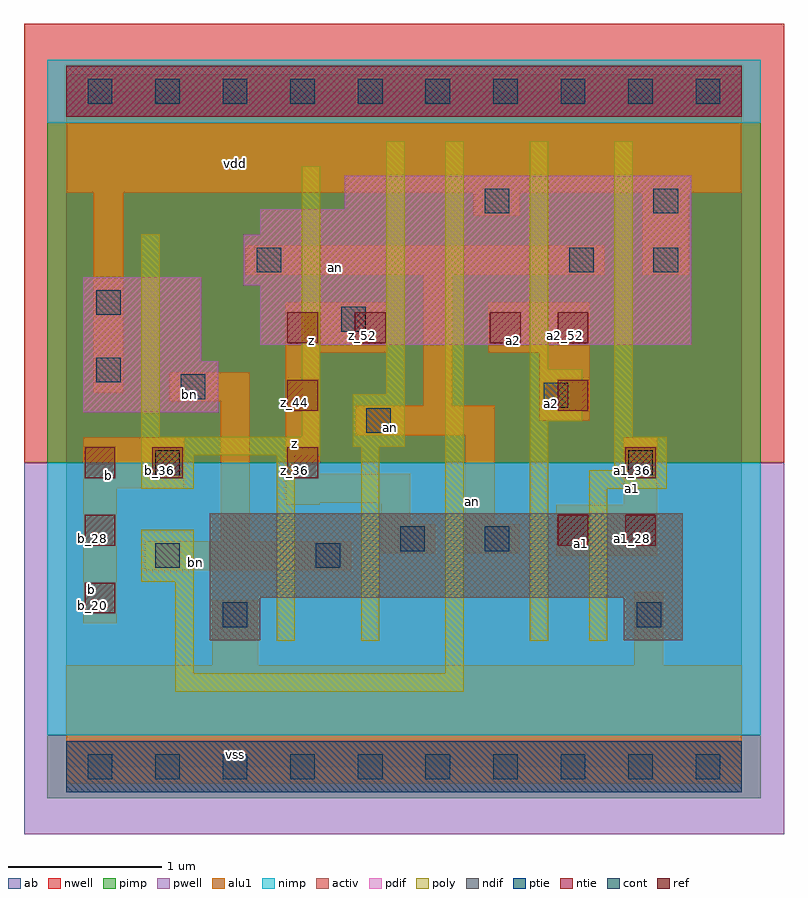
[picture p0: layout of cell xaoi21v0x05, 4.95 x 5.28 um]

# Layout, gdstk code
import gdstk
lib = gdstk.Library(unit=1e-6, precision=2.5e-09)
def R(c, l, rs):  # rectangles x0, y0, x1, y1
    for r in rs: c.add(gdstk.rectangle(r[:2], r[2:], *l))
def A(c, l, x, y, w, h, nx, ny, dx, dy):  # array of equal rectangles
    R(c, l, [(x+i*dx, y+j*dy, x+i*dx+w, y+j*dy+h) for i in range(nx) for j in range(ny)])
ndif = (3, 0)
pdif = (4, 0)
ntie = (5, 0)
ptie = (6, 0)
ref = (24, 0)
cont = (25, 0)
pwell = (41, 0)
nwell = (42, 0)
activ = (43, 0)
pimp = (44, 0)
nimp = (45, 0)
poly = (46, 0)
alu1 = (49, 0)
ab = (63, 0)

xaoi21v0x05 = lib.new_cell('xaoi21v0x05')
R(xaoi21v0x05, ndif, [(0.935,0.825,1.265,1.1), (3.63,0.825,4.015,1.1), (0.935,1.1,4.015,1.65)])
R(xaoi21v0x05, pdif, [(0.11,2.31,0.99,2.64), (0.11,2.64,0.88,3.19), (1.265,2.75,4.07,3.135), (1.155,3.135,4.07,3.465), (1.265,3.465,4.07,3.63), (1.815,3.63,4.07,3.85)])
R(xaoi21v0x05, ntie, [(0,4.235,4.4,4.565)])
R(xaoi21v0x05, ptie, [(0,-0.165,4.4,0.165)])
A(xaoi21v0x05, ref, 0.12, 1, 0.2, 0.2, 1, 3, 0, 0.44)
A(xaoi21v0x05, ref, 1.44, 1.88, 0.2, 0.2, 1, 3, 0, 0.44)
R(xaoi21v0x05, ref, [(3.2,1.44,3.4,1.64), (3.64,1.44,3.84,1.64), (0.56,1.88,0.76,2.08), (3.64,1.88,3.84,2.08), (3.2,2.32,3.4,2.52), (1.88,2.76,2.08,2.96), (2.76,2.76,2.96,2.96), (3.2,2.76,3.4,2.96)])
A(xaoi21v0x05, cont, 0.14, -0.08, 0.16, 0.16, 10, 2, 0.44, 4.4)
R(xaoi21v0x05, cont, [(1.02,0.91,1.18,1.07), (3.715,0.91,3.875,1.07), (0.58,1.295,0.74,1.455), (1.625,1.295,1.785,1.455), (2.175,1.405,2.335,1.565), (2.725,1.405,2.885,1.565), (0.58,1.9,0.74,2.06), (3.66,1.9,3.82,2.06), (1.955,2.175,2.115,2.335), (3.11,2.34,3.27,2.5), (0.745,2.395,0.905,2.555), (0.195,2.505,0.355,2.665), (1.79,2.835,1.95,2.995), (0.195,2.945,0.355,3.105), (1.24,3.22,1.4,3.38), (3.275,3.22,3.435,3.38), (3.825,3.22,3.985,3.38), (2.725,3.605,2.885,3.765), (3.825,3.605,3.985,3.765)])
R(xaoi21v0x05, pwell, [(-0.275,-0.44,4.675,1.98)])
R(xaoi21v0x05, nwell, [(-0.275,1.98,4.675,4.84)])
R(xaoi21v0x05, activ, [(0,-0.165,4.4,0.165), (0.935,0.825,1.265,1.1), (3.63,0.825,4.015,1.1), (0.935,1.1,4.015,1.65), (0.11,2.31,0.99,2.64), (0.11,2.64,0.88,3.19), (1.265,2.75,4.07,3.135), (1.155,3.135,4.07,3.465), (1.265,3.465,4.07,3.63), (1.815,3.63,4.07,3.85), (0,4.235,4.4,4.565)])
R(xaoi21v0x05, pimp, [(-0.125,-0.205,4.525,0.205), (-0.125,1.98,4.525,4.195)])
R(xaoi21v0x05, nimp, [(-0.125,0.205,4.525,1.98), (-0.125,4.195,4.525,4.605)])
R(xaoi21v0x05, poly, [(0.71,0.49,2.59,0.61), (0.71,0.61,0.83,1.205), (2.47,0.61,2.59,4.075), (1.37,0.82,1.49,2.03), (1.92,0.82,2.04,2.085), (3.02,0.82,3.14,2.25), (3.405,0.82,3.525,1.81), (0.49,1.205,0.83,1.545), (0.49,1.81,0.83,2.03), (3.405,1.81,3.91,1.93), (3.57,1.93,3.91,2.15), (0.49,2.03,1.655,2.15), (1.865,2.085,2.205,2.425), (0.49,2.15,0.61,3.47), (1.535,2.15,1.655,3.91), (3.57,2.15,3.69,4.075), (3.02,2.25,3.36,2.59), (2.085,2.425,2.205,4.075), (3.02,2.59,3.14,4.075)])
R(xaoi21v0x05, alu1, [(0,-0.11,4.4,0.66), (0.95,0.66,1.25,1.085), (3.7,0.66,3.89,1.14), (0.11,0.935,0.33,1.815), (0.51,1.28,1.855,1.47), (3.19,1.375,3.85,1.705), (2.05,1.39,2.405,1.58), (2.6,1.39,2.955,1.58), (1.005,1.47,1.195,2.38), (2.05,1.58,2.24,1.72), (2.6,1.58,2.79,2.16), (1.43,1.705,1.65,1.72), (3.63,1.705,3.85,2.145), (1.43,1.72,2.24,1.91), (0.11,1.815,0.77,2.145), (1.43,1.91,1.65,2.695), (1.885,2.16,2.79,2.35), (3.08,2.255,3.41,2.695), (2.325,2.35,2.515,3.205), (0.675,2.38,1.195,2.57), (0.18,2.435,0.37,3.74), (1.43,2.695,2.09,3.025), (2.75,2.695,3.41,3.025), (1.17,3.205,3.505,3.395), (3.755,3.205,4.055,3.74), (2.655,3.59,2.955,3.74), (0,3.74,4.4,4.51)])
R(xaoi21v0x05, ab, [(0,0,4.4,4.4)])
xaoi21v0x05.add(gdstk.Label('vss', (1.1,0.0825), layer=49, texttype=0))
xaoi21v0x05.add(gdstk.Label('a1', (3.355,1.4575), layer=49, texttype=0))
xaoi21v0x05.add(gdstk.Label('bn', (0.845,1.3275), layer=49, texttype=0))
xaoi21v0x05.add(gdstk.Label('a1', (3.685,1.815), layer=49, texttype=0))
xaoi21v0x05.add(gdstk.Label('an', (2.6475,1.725), layer=49, texttype=0))
xaoi21v0x05.add(gdstk.Label('a2', (3.1625,2.365), layer=49, texttype=0))
xaoi21v0x05.add(gdstk.Label('an', (2.11,2.2075), layer=49, texttype=0))
xaoi21v0x05.add(gdstk.Label('a2', (2.915,2.7775), layer=49, texttype=0))
xaoi21v0x05.add(gdstk.Label('z', (1.485,2.105), layer=49, texttype=0))
xaoi21v0x05.add(gdstk.Label('b', (0.165,1.155), layer=49, texttype=0))
xaoi21v0x05.add(gdstk.Label('b', (0.275,1.8975), layer=49, texttype=0))
xaoi21v0x05.add(gdstk.Label('bn', (0.805,2.4275), layer=49, texttype=0))
xaoi21v0x05.add(gdstk.Label('z', (1.595,2.7775), layer=49, texttype=0))
xaoi21v0x05.add(gdstk.Label('an', (1.7525,3.2525), layer=49, texttype=0))
xaoi21v0x05.add(gdstk.Label('vdd', (1.1,3.9325), layer=49, texttype=0))
xaoi21v0x05.add(gdstk.Label('b_36', (0.61,1.93), layer=24, texttype=0))
xaoi21v0x05.add(gdstk.Label('z_36', (1.49,1.93), layer=24, texttype=0))
xaoi21v0x05.add(gdstk.Label('z_44', (1.49,2.37), layer=24, texttype=0))
xaoi21v0x05.add(gdstk.Label('z_52', (1.49,2.81), layer=24, texttype=0))
xaoi21v0x05.add(gdstk.Label('z_52', (1.93,2.81), layer=24, texttype=0))
xaoi21v0x05.add(gdstk.Label('b_20', (0.17,1.05), layer=24, texttype=0))
xaoi21v0x05.add(gdstk.Label('b_28', (0.17,1.49), layer=24, texttype=0))
xaoi21v0x05.add(gdstk.Label('b_36', (0.17,1.93), layer=24, texttype=0))
xaoi21v0x05.add(gdstk.Label('a2_52', (2.81,2.81), layer=24, texttype=0))
xaoi21v0x05.add(gdstk.Label('a1_28', (3.25,1.49), layer=24, texttype=0))
xaoi21v0x05.add(gdstk.Label('a2_44', (3.25,2.37), layer=24, texttype=0))
xaoi21v0x05.add(gdstk.Label('a2_52', (3.25,2.81), layer=24, texttype=0))
xaoi21v0x05.add(gdstk.Label('a1_28', (3.69,1.49), layer=24, texttype=0))
xaoi21v0x05.add(gdstk.Label('a1_36', (3.69,1.93), layer=24, texttype=0))

lib.write_gds('xaoi21v0x05.gds')
